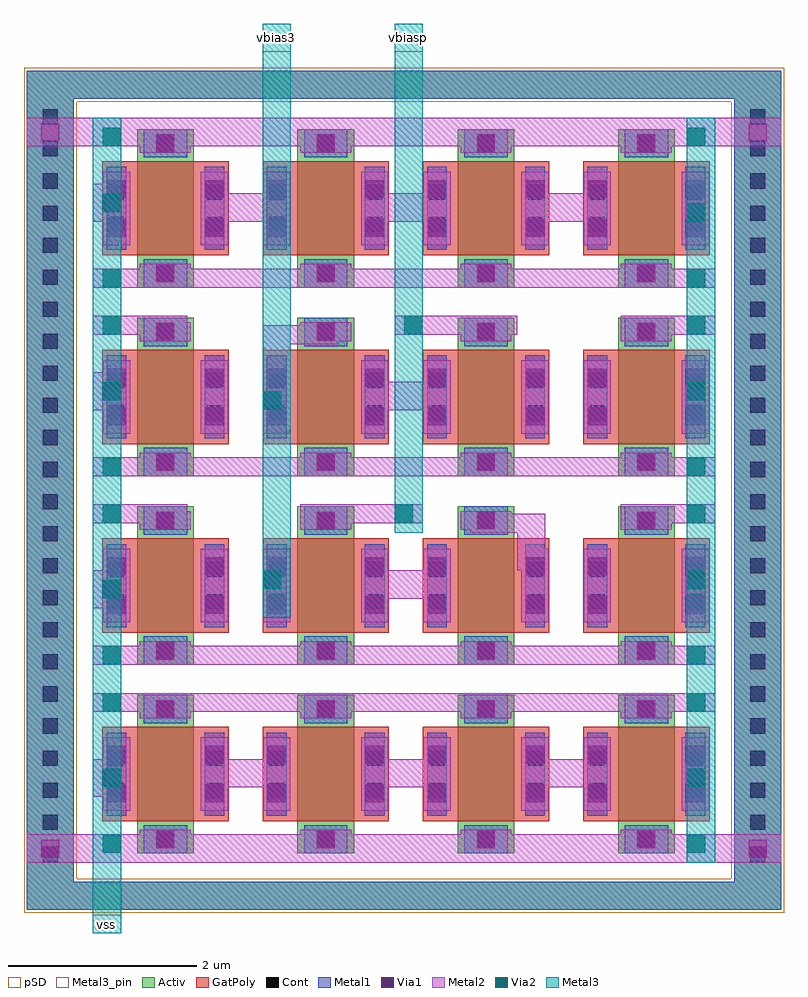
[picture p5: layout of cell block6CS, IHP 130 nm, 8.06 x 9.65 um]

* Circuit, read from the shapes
.subckt block6CS vbias3 vbiasp vss
XM1 vss vss vss vss sg13_lv_nmos w=0.6u l=1u m=12
XM2 vbiasp vbias3 vss vss sg13_lv_nmos w=0.6u l=1u m=2
XM3 vbias3 vbias3 vss vss sg13_lv_nmos w=0.6u l=1u m=2
.ends

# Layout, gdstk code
from math import pi, radians
import gdstk
lib = gdstk.Library(unit=1e-6, precision=1e-09)
def R(c, l, rs):  # rectangles x0, y0, x1, y1
    for r in rs: c.add(gdstk.rectangle(r[:2], r[2:], *l))
def A(c, l, x, y, w, h, nx, ny, dx, dy):  # array of equal rectangles
    R(c, l, [(x+i*dx, y+j*dy, x+i*dx+w, y+j*dy+h) for i in range(nx) for j in range(ny)])
Activ = (1, 0)
GatPoly = (5, 0)
Cont = (6, 0)
Metal1 = (8, 0)
Metal2 = (10, 0)
pSD = (14, 0)
Via1 = (19, 0)
Via2 = (29, 0)
Metal3 = (30, 0)
Metal3_pin = (30, 2)

sg13_lv_nmos_c5z7v5 = lib.new_cell('sg13_lv_nmos_C5Z7V5')
R(sg13_lv_nmos_c5z7v5, Activ, [(-0.84,-0.3,0.84,0.3)])
R(sg13_lv_nmos_c5z7v5, GatPoly, [(-0.5,-0.67,0.5,0.67)])
R(sg13_lv_nmos_c5z7v5, Cont, [(-0.25,-0.6,-0.09,-0.44), (0.09,-0.6,0.25,-0.44), (-0.77,-0.08,-0.61,0.08), (0.61,-0.08,0.77,0.08), (-0.25,0.44,-0.09,0.6), (0.09,0.44,0.25,0.6)])
R(sg13_lv_nmos_c5z7v5, Metal1, [(-0.44,-0.625,0.44,-0.415), (-0.84,-0.23,-0.54,0.23), (0.54,-0.23,0.84,0.23), (-0.44,0.415,0.44,0.625)])
R(sg13_lv_nmos_c5z7v5, Metal2, [(-0.39,-0.665,0.39,-0.375), (-0.79,-0.27,-0.59,0.27), (0.59,-0.27,0.79,0.27), (-0.39,0.375,0.39,0.665)])
R(sg13_lv_nmos_c5z7v5, Via1, [(-0.3,-0.615,-0.11,-0.425), (0.11,-0.615,0.3,-0.425), (-0.785,-0.095,-0.595,0.095), (0.595,-0.095,0.785,0.095), (-0.3,0.425,-0.11,0.615), (0.11,0.425,0.3,0.615)])
sg13_lv_nmos_c5z7v5.add(gdstk.Label('D', (-0.69,0), layer=8, texttype=25))
sg13_lv_nmos_c5z7v5.add(gdstk.Label('S', (0.69,0), layer=8, texttype=25))
sg13_lv_nmos_c5z7v5.add(gdstk.Label('G', (0,0.52), layer=8, texttype=25))

block6cs = lib.new_cell('block6CS')
R(block6cs, Activ, [(-0.8,-6.6,7.2,-6.3), (-0.8,-6.3,-0.3,2), (6.7,-6.3,7.2,2), (-0.8,2,7.2,2.3)])
A(block6cs, Cont, -0.63, -6.09, 0.16, 0.16, 1, 24, 0, 0.34)
A(block6cs, Cont, 6.87, -6.09, 0.16, 0.16, 1, 24, 0, 0.34)
R(block6cs, Metal1, [(-0.8,-6.6,7.2,-6.3), (-0.8,-6.3,-0.3,2), (6.7,-6.3,7.2,2), (-0.8,2,7.2,2.3)])
A(block6cs, Metal2, 1.1, -5.3, 0.8, 0.3, 3, 2, 1.7, 6)
A(block6cs, Metal2, -0.1, -4, 6.6, 0.2, 1, 3, 0, 2)
R(block6cs, Metal2, [(-0.8,-6.1,7.2,-5.8), (-0.1,-5.4,0.2,-5), (6.2,-5.3,6.4,-5.1), (-0.1,-4.5,6.5,-4.3), (-0.1,-3.4,0.2,-3), (1.7,-3.4,1.9,-2.8), (2.8,-3.3,3.6,-3), (6.2,-3.2,6.4,-3), (4.4,-3,4.7,-2.6), (3.9,-2.6,4.7,-2.4), (-0.1,-2.5,0.9,-2.3), (2.1,-2.5,3.4,-2.3), (5.5,-2.5,6.5,-2.3), (1.7,-1.5,2,-0.6), (-0.1,-1.3,0.2,-0.9), (2.8,-1.3,3.6,-1), (6.2,-1.2,6.4,-1), (1.7,-0.6,2.5,-0.4), (-0.1,-0.5,0.9,-0.3), (3.1,-0.5,4.4,-0.3), (5.5,-0.5,6.5,-0.3), (-0.1,0.7,0.2,1.1), (6.2,0.7,6.4,0.9), (-0.8,1.5,7.2,1.8)])
R(block6cs, pSD, [(-0.83,-6.63,7.23,-6.27), (-0.83,-6.27,-0.27,1.97), (6.67,-6.27,7.23,1.97), (-0.83,1.97,7.23,2.33)])
R(block6cs, Via1, [(-0.645,-6.045,-0.455,-5.855), (6.855,-6.045,7.045,-5.855), (-0.645,1.555,-0.455,1.745), (6.855,1.555,7.045,1.745)])
A(block6cs, Via2, 0.005, -2.495, 0.19, 0.19, 3, 1, 3.1, 0)
R(block6cs, Via2, [(0.005,-5.995,0.195,-5.805), (6.205,-5.995,6.395,-5.805), (0.005,-5.295,0.195,-5.105), (6.205,-5.295,6.395,-5.105), (0.005,-4.495,0.195,-4.305), (6.205,-4.495,6.395,-4.305), (0.005,-3.995,0.195,-3.805), (6.205,-3.995,6.395,-3.805), (0.005,-3.295,0.195,-3.105), (1.705,-3.195,1.895,-3.005), (6.205,-3.195,6.395,-3.005), (0.005,-1.995,0.195,-1.805), (6.205,-1.995,6.395,-1.805), (1.705,-1.295,1.895,-1.105), (0.005,-1.195,0.195,-1.005), (6.205,-1.195,6.395,-1.005), (0.005,-0.495,0.195,-0.305), (3.205,-0.495,3.395,-0.305), (6.205,-0.495,6.395,-0.305), (0.005,0.005,0.195,0.195), (6.205,0.005,6.395,0.195), (6.205,0.705,6.395,0.895), (0.005,0.805,0.195,0.995), (0.005,1.505,0.195,1.695), (6.205,1.505,6.395,1.695)])
R(block6cs, Metal3, [(-0.1,-6.85,0.2,1.8), (6.2,-6.1,6.5,1.8), (1.7,-3.5,2,2.8), (3.1,-2.6,3.4,2.8)])
R(block6cs, Metal3_pin, [(-0.1,-6.85,0.2,-6.65), (1.7,2.5,2,2.8), (3.1,2.5,3.4,2.8)])
block6cs.add(gdstk.Reference(sg13_lv_nmos_c5z7v5, (0.67,-5.16), rotation=3*pi/2))
block6cs.add(gdstk.Reference(sg13_lv_nmos_c5z7v5, (2.37,-5.16), rotation=3*pi/2))
block6cs.add(gdstk.Reference(sg13_lv_nmos_c5z7v5, (4.07,-5.16), rotation=3*pi/2))
block6cs.add(gdstk.Reference(sg13_lv_nmos_c5z7v5, (5.77,-5.16), rotation=3*pi/2))
block6cs.add(gdstk.Reference(sg13_lv_nmos_c5z7v5, (0.67,-3.16), rotation=3*pi/2))
block6cs.add(gdstk.Reference(sg13_lv_nmos_c5z7v5, (2.37,-3.16), rotation=3*pi/2))
block6cs.add(gdstk.Reference(sg13_lv_nmos_c5z7v5, (4.07,-3.16), rotation=3*pi/2))
block6cs.add(gdstk.Reference(sg13_lv_nmos_c5z7v5, (5.77,-3.16), rotation=3*pi/2))
block6cs.add(gdstk.Reference(sg13_lv_nmos_c5z7v5, (0.67,-1.16), rotation=3*pi/2))
block6cs.add(gdstk.Reference(sg13_lv_nmos_c5z7v5, (2.37,-1.16), rotation=3*pi/2))
block6cs.add(gdstk.Reference(sg13_lv_nmos_c5z7v5, (4.07,-1.16), rotation=3*pi/2))
block6cs.add(gdstk.Reference(sg13_lv_nmos_c5z7v5, (5.77,-1.16), rotation=3*pi/2))
block6cs.add(gdstk.Reference(sg13_lv_nmos_c5z7v5, (0.67,0.84), rotation=3*pi/2))
block6cs.add(gdstk.Reference(sg13_lv_nmos_c5z7v5, (2.37,0.84), rotation=3*pi/2))
block6cs.add(gdstk.Reference(sg13_lv_nmos_c5z7v5, (4.07,0.84), rotation=3*pi/2))
block6cs.add(gdstk.Reference(sg13_lv_nmos_c5z7v5, (5.77,0.84), rotation=3*pi/2))
block6cs.add(gdstk.Label('vbiasp', (3.25,2.65), layer=30, texttype=25))
block6cs.add(gdstk.Label('vbias3', (1.85,2.65), layer=30, texttype=25))
block6cs.add(gdstk.Label('vss', (0.05,-6.75), layer=30, texttype=25))

lib.write_gds('block6CS.gds')
